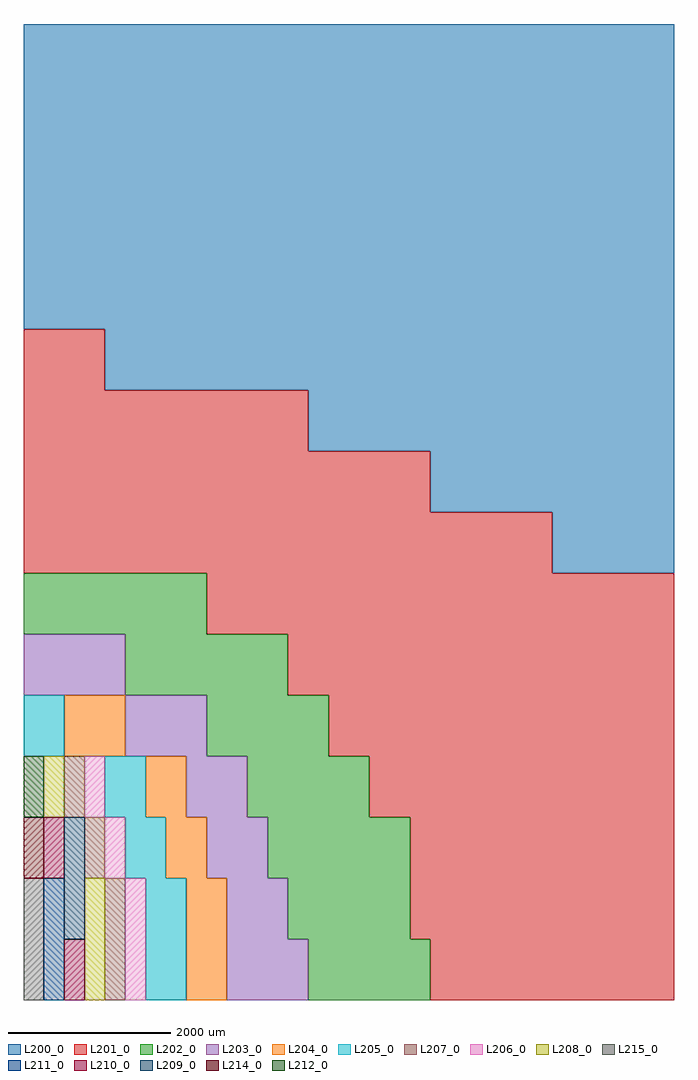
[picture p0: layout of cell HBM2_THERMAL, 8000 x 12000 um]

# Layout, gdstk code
import gdstk
lib = gdstk.Library(unit=1e-6, precision=1e-09)
def R(c, l, rs):  # rectangles x0, y0, x1, y1
    for r in rs: c.add(gdstk.rectangle(r[:2], r[2:], *l))
def A(c, l, x, y, w, h, nx, ny, dx, dy):  # array of equal rectangles
    R(c, l, [(x+i*dx, y+j*dy, x+i*dx+w, y+j*dy+h) for i in range(nx) for j in range(ny)])
L200_0 = (200, 0)
L201_0 = (201, 0)
L202_0 = (202, 0)
L203_0 = (203, 0)
L204_0 = (204, 0)
L205_0 = (205, 0)
L206_0 = (206, 0)
L207_0 = (207, 0)
L208_0 = (208, 0)
L209_0 = (209, 0)
L210_0 = (210, 0)
L211_0 = (211, 0)
L212_0 = (212, 0)
L214_0 = (214, 0)
L215_0 = (215, 0)

hbm2_thermal = lib.new_cell('HBM2_THERMAL')
A(hbm2_thermal, L200_0, 6500, 5250, 250, 750, 6, 1, 250, 0)
A(hbm2_thermal, L200_0, 5000, 6000, 250, 750, 12, 1, 250, 0)
A(hbm2_thermal, L200_0, 3500, 6750, 250, 750, 18, 1, 250, 0)
A(hbm2_thermal, L200_0, 1000, 7500, 250, 750, 28, 1, 250, 0)
A(hbm2_thermal, L200_0, 0, 8250, 250, 750, 32, 5, 250, 750)
A(hbm2_thermal, L201_0, 5000, 0, 250, 750, 12, 1, 250, 0)
A(hbm2_thermal, L201_0, 4750, 750, 250, 750, 13, 2, 250, 750)
A(hbm2_thermal, L201_0, 4250, 2250, 250, 750, 15, 1, 250, 0)
A(hbm2_thermal, L201_0, 3750, 3000, 250, 750, 17, 1, 250, 0)
A(hbm2_thermal, L201_0, 3250, 3750, 250, 750, 19, 1, 250, 0)
A(hbm2_thermal, L201_0, 2250, 4500, 250, 750, 23, 1, 250, 0)
A(hbm2_thermal, L201_0, 0, 5250, 250, 750, 26, 1, 250, 0)
A(hbm2_thermal, L201_0, 0, 6000, 250, 750, 20, 1, 250, 0)
A(hbm2_thermal, L201_0, 0, 6750, 250, 750, 14, 1, 250, 0)
A(hbm2_thermal, L201_0, 0, 7500, 250, 750, 4, 1, 250, 0)
A(hbm2_thermal, L202_0, 3500, 0, 250, 750, 6, 1, 250, 0)
A(hbm2_thermal, L202_0, 3250, 750, 250, 750, 6, 1, 250, 0)
A(hbm2_thermal, L202_0, 3000, 1500, 250, 750, 7, 1, 250, 0)
A(hbm2_thermal, L202_0, 2750, 2250, 250, 750, 6, 1, 250, 0)
A(hbm2_thermal, L202_0, 2250, 3000, 250, 750, 6, 1, 250, 0)
A(hbm2_thermal, L202_0, 1250, 3750, 250, 750, 8, 1, 250, 0)
A(hbm2_thermal, L202_0, 0, 4500, 250, 750, 9, 1, 250, 0)
A(hbm2_thermal, L203_0, 2500, 0, 250, 750, 4, 1, 250, 0)
A(hbm2_thermal, L203_0, 2500, 750, 250, 750, 3, 1, 250, 0)
A(hbm2_thermal, L203_0, 2250, 1500, 250, 750, 3, 1, 250, 0)
A(hbm2_thermal, L203_0, 2000, 2250, 250, 750, 3, 1, 250, 0)
A(hbm2_thermal, L203_0, 1250, 3000, 250, 750, 4, 1, 250, 0)
A(hbm2_thermal, L203_0, 0, 3750, 250, 750, 5, 1, 250, 0)
A(hbm2_thermal, L204_0, 2000, 0, 250, 750, 1, 3, 0, 750)
A(hbm2_thermal, L204_0, 500, 3000, 250, 750, 3, 1, 250, 0)
R(hbm2_thermal, L204_0, [(2250,0,2500,750), (2250,750,2500,1500), (1750,1500,2000,2250), (1500,2250,1750,3000), (1750,2250,2000,3000)])
A(hbm2_thermal, L205_0, 1500, 0, 250, 750, 1, 3, 0, 750)
R(hbm2_thermal, L205_0, [(1750,0,2000,750), (1750,750,2000,1500), (1250,1500,1500,2250), (1000,2250,1250,3000), (1250,2250,1500,3000), (0,3000,250,3750), (250,3000,500,3750)])
R(hbm2_thermal, L206_0, [(1250,0,1500,750), (1250,750,1500,1500), (1000,1500,1250,2250), (750,2250,1000,3000)])
R(hbm2_thermal, L207_0, [(1000,0,1250,750), (1000,750,1250,1500), (750,1500,1000,2250), (500,2250,750,3000)])
R(hbm2_thermal, L208_0, [(750,0,1000,750), (750,750,1000,1500), (250,2250,500,3000)])
R(hbm2_thermal, L209_0, [(500,750,750,1500), (500,1500,750,2250)])
R(hbm2_thermal, L210_0, [(500,0,750,750), (250,1500,500,2250)])
R(hbm2_thermal, L211_0, [(250,0,500,750), (250,750,500,1500)])
R(hbm2_thermal, L212_0, [(0,2250,250,3000)])
R(hbm2_thermal, L214_0, [(0,1500,250,2250)])
R(hbm2_thermal, L215_0, [(0,0,250,750), (0,750,250,1500)])

lib.write_gds('HBM2_THERMAL.gds')
